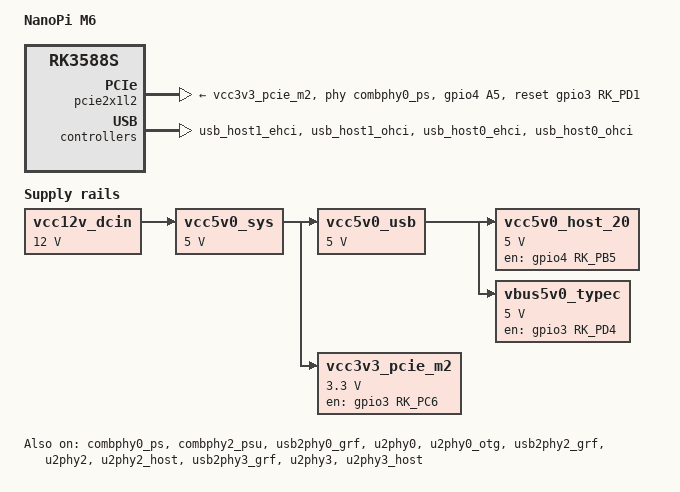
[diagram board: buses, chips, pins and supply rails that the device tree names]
// SPDX-License-Identifier: (GPL-2.0+ OR MIT)
/*
 * Copyright (c) 2021 Rockchip Electronics Co., Ltd
 *
 */

/dts-v1/;
#include "rk3588.dtsi"
#include "rk3588-u-boot.dtsi"
#include <dt-bindings/input/input.h>

/ {
	model = "NanoPi M6";
	compatible = "nanopi,nanopi-m6", "rockchip,rk3588s";

	vcc12v_dcin: vcc12v-dcin {
		u-boot,dm-pre-reloc;
		compatible = "regulator-fixed";
		regulator-name = "vcc12v_dcin";
		regulator-always-on;
		regulator-boot-on;
		regulator-min-microvolt = <12000000>;
		regulator-max-microvolt = <12000000>;
	};

	vcc5v0_sys: vcc5v0-sys {
		u-boot,dm-pre-reloc;
		compatible = "regulator-fixed";
		regulator-name = "vcc5v0_sys";
		regulator-always-on;
		regulator-boot-on;
		regulator-min-microvolt = <5000000>;
		regulator-max-microvolt = <5000000>;
		vin-supply = <&vcc12v_dcin>;
	};

	vcc5v0_usb: vcc5v0-usb {
		u-boot,dm-pre-reloc;
		compatible = "regulator-fixed";
		regulator-name = "vcc5v0_usb";
		regulator-always-on;
		regulator-boot-on;
		regulator-min-microvolt = <5000000>;
		regulator-max-microvolt = <5000000>;
		vin-supply = <&vcc5v0_sys>;
	};

	vcc3v3_pcie_m2: vcc3v3-pcie30 {
		u-boot,dm-pre-reloc;
		compatible = "regulator-fixed";
		enable-active-high;
		gpios = <&gpio3 RK_PC6 GPIO_ACTIVE_HIGH>;
		pinctrl-names = "default";
		pinctrl-0 = <&pcie_m2_0_pwren>;
		regulator-name = "vcc3v3_pcie_m2";
		regulator-min-microvolt = <3300000>;
		regulator-max-microvolt = <3300000>;
		vin-supply = <&vcc5v0_sys>;
	};

	vcc5v0_host_20: vcc5v0-host-20 {
		u-boot,dm-pre-reloc;
		compatible = "regulator-fixed";
		enable-active-high;
		gpio = <&gpio4 RK_PB5 GPIO_ACTIVE_HIGH>;
		pinctrl-names = "default";
		pinctrl-0 = <&vcc5v0_host20_en>;
		regulator-name = "vcc5v0_host_20";
		regulator-min-microvolt = <5000000>;
		regulator-max-microvolt = <5000000>;
		vin-supply = <&vcc5v0_usb>;
	};

	vbus5v0_typec: vbus5v0-typec {
		u-boot,dm-pre-reloc;
		compatible = "regulator-fixed";
		enable-active-high;
		gpio = <&gpio3 RK_PD4 GPIO_ACTIVE_HIGH>;
		pinctrl-names = "default";
		pinctrl-0 = <&typec5v_pwren>;
		regulator-name = "vbus5v0_typec";
		regulator-min-microvolt = <5000000>;
		regulator-max-microvolt = <5000000>;
		vin-supply = <&vcc5v0_usb>;
	};
};

&combphy0_ps {
	u-boot,dm-pre-reloc;
	status = "okay";
};

&combphy2_psu {
	u-boot,dm-pre-reloc;
	status = "okay";
};

&pcie2x1l2 {
	u-boot,dm-pre-reloc;
	pinctrl-names = "default";
	pinctrl-0 = <&pcie_m2_0_prsnt>;
	reset-gpios = <&gpio3 RK_PD1 GPIO_ACTIVE_HIGH>;
	prsnt-gpios = <&gpio4 RK_PA5 GPIO_ACTIVE_HIGH>;
	phys = <&combphy0_ps PHY_TYPE_PCIE>;
	vpcie3v3-supply = <&vcc3v3_pcie_m2>;
	status = "okay";
};

&usb2phy0_grf {
	u-boot,dm-pre-reloc;
	status = "okay";
};


&u2phy0 {
	u-boot,dm-pre-reloc;
	status = "okay";
};

&u2phy0_otg {
	phy-supply = <&vbus5v0_typec>;
	u-boot,dm-pre-reloc;
	status = "okay";
};

&usb2phy2_grf {
	u-boot,dm-pre-reloc;
	status = "okay";
};

&u2phy2 {
	u-boot,dm-pre-reloc;
	status = "okay";
};

&u2phy2_host {
	phy-supply = <&vcc5v0_host_20>;
	u-boot,dm-pre-reloc;
	status = "okay";
};

&usb2phy3_grf {
	u-boot,dm-pre-reloc;
	status = "okay";
};

&u2phy3 {
	u-boot,dm-pre-reloc;
	status = "okay";
};

&u2phy3_host {
	u-boot,dm-pre-reloc;
	status = "okay";
};

&usb_host1_ehci {
	u-boot,dm-pre-reloc;
	status = "okay";
};

&usb_host1_ohci {
	u-boot,dm-pre-reloc;
	status = "okay";
};

&usb_host0_ehci {
	u-boot,dm-pre-reloc;
	status = "okay";
};

&usb_host0_ohci {
	u-boot,dm-pre-reloc;
	status = "okay";
};

&pinctrl {
	pcie {
		u-boot,dm-pre-reloc;
		pcie_m2_0_pwren: pcie-m20-pwren {
			u-boot,dm-pre-reloc;
			rockchip,pins = <3 RK_PC6 RK_FUNC_GPIO &pcfg_pull_none>;
		};

		pcie_m2_0_prsnt: pcie-m20-prsnt {
			u-boot,dm-pre-reloc;
			rockchip,pins = <4 RK_PA5 RK_FUNC_GPIO &pcfg_pull_up>;
		};
	};

	usb {
		u-boot,dm-pre-reloc;
		typec5v_pwren: typec5v-pwren {
			u-boot,dm-pre-reloc;
			rockchip,pins = <3 RK_PD4 RK_FUNC_GPIO &pcfg_pull_none>;
		};

		vcc5v0_host20_en: vcc5v0-host20-en {
			u-boot,dm-pre-reloc;
			rockchip,pins = <4 RK_PB5 RK_FUNC_GPIO &pcfg_pull_none>;
		};
	};
};
